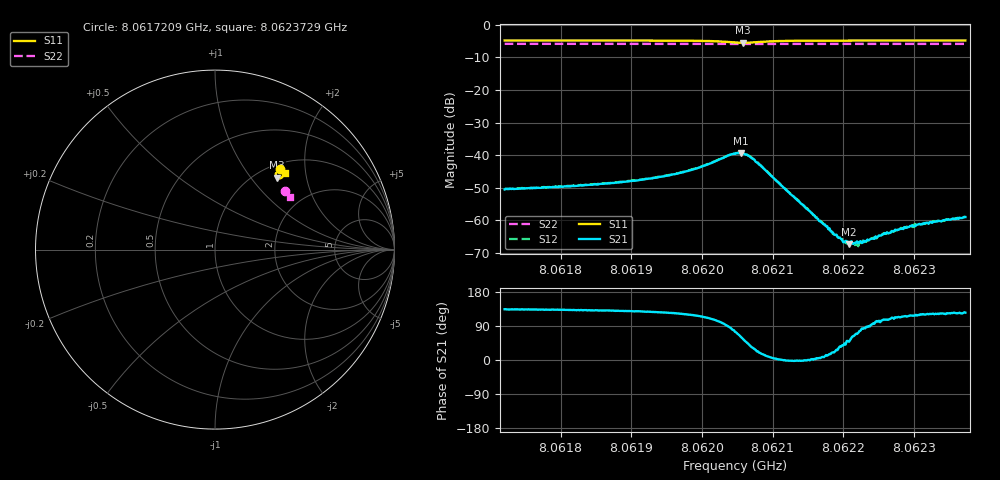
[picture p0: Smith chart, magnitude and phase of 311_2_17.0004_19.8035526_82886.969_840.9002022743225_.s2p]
#  HZ  S  RI  R  50.00
! Rohde & Schwarz Vector Network Analyzer
! Rohde-Schwarz,ZNB20-2Port,1311601062101988,3.16
! Created: UTC 3/20/2024, 11:06:01 PM
! freq[Hz]  re:S11  im:S11  re:S21  im:S21  re:S12  im:S12  re:S22  im:S22
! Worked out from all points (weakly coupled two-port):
!   401 points, 8.0617209 GHz to 8.0623729 GHz, reference 50 ohm
!   highest |S21| = -39.37 dB at 8.062055 GHz (marker M1); lowest = -67.3 dB at 8.0622082 GHz (marker M2)
!   lowest |S11| = -5.5 dB at 8.0620583 GHz (marker M3), VSWR 3.26, Z = 61.1 + j68.3 ohm
!   |S11| at or under -10 dB: nowhere
!   |S22| runs from -5.9 to -5.8 dB; largest |S21 - S12| = 0.00085
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8.06172088e9  0.3596 0.4498  -0.00207 0.00214  -0.00198 0.00231  0.3927 0.3273
8.06183009e9  0.3672 0.4433  -0.00228 0.00256  -0.00214 0.00269  0.3968 0.322
8.06188388e9  0.3712 0.4395  -0.00243 0.00295  -0.00232 0.0031  0.3989 0.3192
8.0619393e9  0.3759 0.4338  -0.00272 0.00372  -0.00252 0.00388  0.401 0.3164
8.06199472e9  0.3805 0.4224  -0.00285 0.00571  -0.0025 0.00594  0.403 0.3132
8.06204688e9  0.3612 0.3972  0.00278 0.0101  0.00339 0.0102  0.4035 0.3098
8.06205503e9  0.3504 0.3992  0.00519 0.00942  0.00573 0.00915  0.4033 0.3097
8.06205829e9  0.3465 0.4016  0.00602 0.00871  0.0066 0.00839  0.4032 0.3098
8.06206644e9  0.3397 0.411  0.00733 0.00644  0.00774 0.00595  0.4033 0.3097
8.06207785e9  0.3396 0.4247  0.00711 0.00298  0.00738 0.00277  0.4039 0.3099
8.06215609e9  0.3681 0.4383  0.00127 5.47e-05  0.00127 -4.3e-05  0.4082 0.3065
8.06218543e9  0.3727 0.4365  0.000607 0.000224  0.000594 0.000168  0.4094 0.305
8.06219847e9  0.3744 0.4356  0.000388 0.00031  0.000436 0.000263  0.4099 0.3043
8.06220499e9  0.3752 0.4352  0.000305 0.000368  0.000308 0.000311  0.41 0.3039
8.06220825e9  0.3755 0.435  0.000288 0.000321  0.000292 0.000338  0.41 0.3038
8.06221151e9  0.3759 0.4347  0.000251 0.000403  0.000245 0.000397  0.4103 0.3036
8.06221966e9  0.3767 0.4341  0.000172 0.000441  0.000183 0.000382  0.4106 0.3031
8.06222944e9  0.3778 0.4336  4.8e-05 0.000481  7.88e-05 0.000456  0.4111 0.3027
8.0622653e9  0.381 0.4314  -0.000197 0.000609  -0.000179 0.000628  0.4124 0.3008
8.06230605e9  0.3841 0.4291  -0.000415 0.000756  -0.000391 0.000785  0.4138 0.2987
8.06232398e9  0.3854 0.4281  -0.000491 0.000806  -0.000455 0.000815  0.4143 0.2978
8.06237288e9  0.3887 0.4253  -0.000644 0.000914  -0.000546 0.00098  0.4161 0.2953
